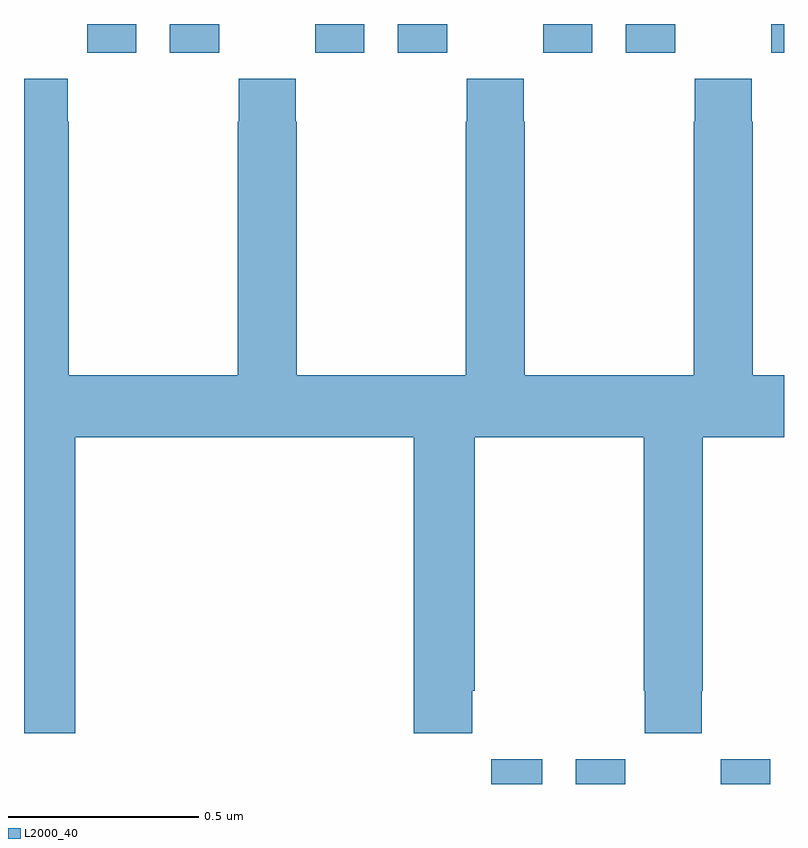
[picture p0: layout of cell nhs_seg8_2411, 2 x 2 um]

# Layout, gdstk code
import gdstk
lib = gdstk.Library(unit=1e-6, precision=1e-09)
def R(c, l, rs):  # rectangles x0, y0, x1, y1
    for r in rs: c.add(gdstk.rectangle(r[:2], r[2:], *l))
def P(c, l, *ps):  # polygons
    for p in ps: c.add(gdstk.Polygon(p, *l))
L2000_40 = (2000, 40)

nhs_seg8_2411 = lib.new_cell('nhs_seg8_2411')
R(nhs_seg8_2411, L2000_40, [(144.23,1136.9,144.364,1136.965), (144.452,1136.9,144.582,1136.965), (144.834,1136.9,144.964,1136.965), (143.166,1138.824,143.296,1138.9), (143.384,1138.824,143.514,1138.9), (143.766,1138.824,143.896,1138.9), (143.984,1138.824,144.114,1138.9), (144.366,1138.824,144.496,1138.9), (144.584,1138.824,144.714,1138.9), (144.966,1138.824,145,1138.9)])
P(nhs_seg8_2411, L2000_40, [(144.026,1137.033),(144.179,1137.033),(144.179,1137.145),(144.186,1137.145),(144.186,1137.812),(144.631,1137.812),(144.631,1137.145),(144.633,1137.145),(144.633,1137.033),(144.783,1137.033),(144.783,1137.145),(144.786,1137.145),(144.786,1137.812),(145,1137.812),(145,1137.976),(144.918,1137.976),(144.918,1138.643),(144.915,1138.643),(144.915,1138.756),(144.765,1138.756),(144.765,1138.643),(144.763,1138.643),(144.763,1137.976),(144.318,1137.976),(144.318,1138.643),(144.315,1138.643),(144.315,1138.756),(144.165,1138.756),(144.165,1138.643),(144.163,1138.643),(144.163,1137.976),(143.718,1137.976),(143.718,1138.643),(143.715,1138.643),(143.715,1138.756),(143.565,1138.756),(143.565,1138.643),(143.563,1138.643),(143.563,1137.976),(143.118,1137.976),(143.118,1138.643),(143.115,1138.643),(143.115,1138.756),(143,1138.756),(143,1137.033),(143.135,1137.033),(143.135,1137.812),(144.026,1137.812)])

lib.write_gds('nhs_seg8_2411.gds')
